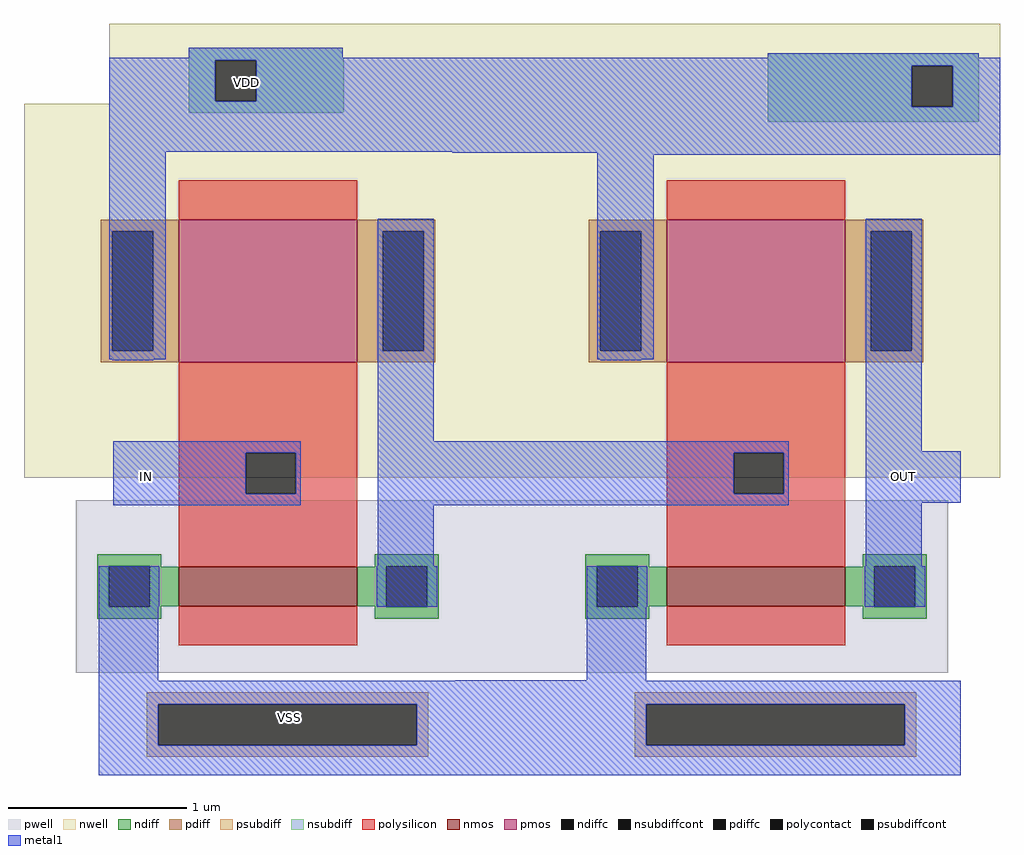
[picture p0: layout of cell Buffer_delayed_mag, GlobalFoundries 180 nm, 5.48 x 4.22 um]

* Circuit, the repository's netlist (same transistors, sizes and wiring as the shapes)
* NGSPICE file created from Buffer_delayed_mag.ext - technology: gf180mcuC

.subckt pmos_3p3_MW53B7 a_n188_n80# a_n100_n124# a_100_n80# w_n274_n210#
X0 a_100_n80# a_n100_n124# a_n188_n80# w_n274_n210# pfet_03v3 ad=0.352p pd=2.48u as=0.352p ps=2.48u w=0.8u l=1u
.ends

.subckt nmos_3p3_MGBSF7 a_100_n22# a_n100_n66# a_n192_n36# VSUBS
X0 a_100_n22# a_n100_n66# a_n192_n36# VSUBS nfet_03v3 ad=0.152p pd=1.64u as=0.152p ps=1.64u w=0.22u l=1u
.ends

.subckt Inverter_delayed_mag VDD VSS IN OUT
Xpmos_3p3_MW53B7_0 VDD IN OUT VDD pmos_3p3_MW53B7
Xnmos_3p3_MGBSF7_0 OUT IN VSS VSS nmos_3p3_MGBSF7
.ends

.subckt Buffer_delayed_mag IN OUT VDD VSS
Xpmos_3p3_MW53B7_0 VDD IN Inverter_delayed_mag_0/IN VDD pmos_3p3_MW53B7
XInverter_delayed_mag_0 VDD VSS Inverter_delayed_mag_0/IN OUT Inverter_delayed_mag
Xnmos_3p3_MGBSF7_0 Inverter_delayed_mag_0/IN IN VSS VSS nmos_3p3_MGBSF7
.ends

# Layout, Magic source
magic
tech gf180mcuC
magscale 1 10
<< nwell >>
rect -122 572 584 669
rect -122 538 468 572
rect -118 526 468 538
rect -36 525 130 526
rect 243 525 468 526
rect -32 292 31 525
rect 263 524 454 525
<< pwell >>
rect 269 -60 397 134
<< psubdiff >>
rect -80 -95 236 -82
rect -80 -141 -67 -95
rect 223 -141 236 -95
rect -80 -154 236 -141
<< nsubdiff >>
rect -33 631 140 642
rect -33 628 141 631
rect -33 582 -3 628
rect 43 582 141 628
rect -33 570 141 582
rect -33 569 140 570
<< psubdiffcont >>
rect -67 -141 223 -95
<< nsubdiffcont >>
rect -3 582 43 628
<< polysilicon >>
rect -44 187 156 250
rect -44 141 31 187
rect 87 141 156 187
rect -44 103 156 141
<< polycontact >>
rect 31 141 87 187
<< metal1 >>
rect -33 631 140 642
rect -122 628 454 631
rect -122 582 -3 628
rect 43 582 454 628
rect -122 525 454 582
rect -122 292 -59 525
rect 263 524 454 525
rect 179 200 242 450
rect -118 187 93 200
rect -118 141 31 187
rect 87 141 93 187
rect -118 128 93 141
rect 179 131 435 200
rect 740 140 830 170
rect 179 128 432 131
rect -134 -69 -67 60
rect 179 14 242 128
rect 266 -69 457 -68
rect -134 -95 457 -69
rect -134 -141 -67 -95
rect 223 -141 457 -95
rect -134 -175 457 -141
use Inverter_delayed_mag  Inverter_delayed_mag_0
transform 1 0 548 0 1 0
box -218 -175 330 669
use nmos_3p3_MGBSF7  nmos_3p3_MGBSF7_0
transform 1 0 56 0 1 37
box -216 -97 216 97
use pmos_3p3_MW53B7  pmos_3p3_MW53B7_0
transform 1 0 56 0 1 369
box -274 -210 274 210
<< labels >>
flabel metal1 -80 160 -80 160 0 FreeSans 320 0 0 0 IN
port 0 nsew
flabel metal1 770 160 770 160 0 FreeSans 320 0 0 0 OUT
port 1 nsew
flabel psubdiffcont 80 -110 80 -110 0 FreeSans 320 0 0 0 VSS
port 3 nsew
flabel nsubdiffcont 32 603 32 603 0 FreeSans 640 0 0 0 VDD
port 4 nsew
<< end >>

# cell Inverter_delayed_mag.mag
magic
tech gf180mcuC
magscale 1 10
<< nwell >>
rect 36 631 330 669
rect -122 579 330 631
rect 36 502 330 579
<< psubdiff >>
rect -80 -95 236 -82
rect -80 -141 -67 -95
rect 223 -141 236 -95
rect -80 -154 236 -141
<< nsubdiff >>
rect 69 622 306 636
rect 69 576 231 622
rect 277 576 306 622
rect 69 559 306 576
<< psubdiffcont >>
rect -67 -141 223 -95
<< nsubdiffcont >>
rect 231 576 277 622
<< polysilicon >>
rect -44 187 156 250
rect -44 141 31 187
rect 87 141 156 187
rect -44 103 156 141
<< polycontact >>
rect 31 141 87 187
<< metal1 >>
rect 69 631 306 636
rect -122 622 330 631
rect -122 576 231 622
rect 277 576 330 622
rect -122 522 330 576
rect -122 292 -59 522
rect -118 187 93 200
rect -118 141 31 187
rect 87 141 93 187
rect -118 128 93 141
rect 179 189 242 450
rect 179 131 286 189
rect -134 -69 -67 60
rect 179 14 242 131
rect -134 -95 286 -69
rect -134 -141 -67 -95
rect 223 -141 286 -95
rect -134 -175 286 -141
use nmos_3p3_MGBSF7  nmos_3p3_MGBSF7_0
transform 1 0 56 0 1 37
box -216 -97 216 97
use pmos_3p3_MW53B7  pmos_3p3_MW53B7_0
transform 1 0 56 0 1 369
box -274 -210 274 210
<< labels >>
flabel psubdiffcont 80 -120 80 -120 0 FreeSans 640 0 0 0 VSS
port 1 nsew
flabel metal1 -106 158 -106 158 0 FreeSans 640 0 0 0 IN
port 2 nsew
flabel metal1 276 159 276 159 0 FreeSans 640 0 0 0 OUT
port 3 nsew
flabel nsubdiffcont 251 601 251 601 0 FreeSans 640 0 0 0 VDD
port 4 nsew
<< end >>

# cell nmos_3p3_MGBSF7: kit device nmos_3p3, w 0.220 l 1 m 1 nf 1 diffcov 100 polycov 100 guard 0 glc 0 grc 0 gtc 0 gbc 0 tbcov 100 rlcov 100 topc 0 botc 0 poverlap 0 doverlap 1 lmin 0.28 wmin 0.22 full_metal 0 compatible {nmos_3p3 nmos_6p0 nmos_6p0_nat}

# cell pmos_3p3_MW53B7: kit device pmos_3p3, w 0.8 l 1 m 1 nf 1 diffcov 100 polycov 100 guard 0 glc 0 grc 0 gtc 0 gbc 0 tbcov 100 rlcov 100 topc 0 botc 0 poverlap 0 doverlap 1 lmin 0.28 wmin 0.22 full_metal 0 compatible {pmos_3p3 pmos_6p0}
